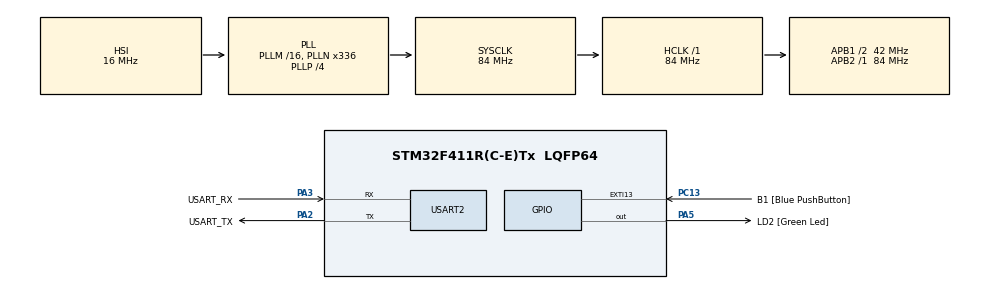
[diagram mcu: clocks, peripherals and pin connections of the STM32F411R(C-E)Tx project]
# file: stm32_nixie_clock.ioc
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Mcu.Family=STM32F4
Mcu.Name=STM32F411R(C-E)Tx
Mcu.Package=LQFP64
NVIC.PriorityGroup=NVIC_PRIORITYGROUP_0
PA13.GPIO_Label=TMS
PA13.Mode=Serial_Wire
PA13.Signal=SYS_JTMS-SWDIO
PA14.GPIO_Label=TCK
PA14.Mode=Serial_Wire
PA14.Signal=SYS_JTCK-SWCLK
PA2.GPIO_Label=USART_TX
PA2.Mode=Asynchronous
PA2.Signal=USART2_TX
PA3.GPIO_Label=USART_RX
PA3.Mode=Asynchronous
PA3.Signal=USART2_RX
PA5.GPIO_Label=LD2 [Green Led]
PA5.Signal=GPIO_Output
PB3.GPIO_Label=SWO
PB3.Signal=SYS_JTDO-SWO
PC13-ANTI_TAMP.GPIO_Label=B1 [Blue PushButton]
PC13-ANTI_TAMP.GPIO_ModeDefaultEXTI=GPIO_MODE_IT_FALLING
PC13-ANTI_TAMP.Signal=GPXTI13
PC14-OSC32_IN.Mode=LSE-External-Oscillator
PC14-OSC32_IN.Signal=RCC_OSC32_IN
PC15-OSC32_OUT.Mode=LSE-External-Oscillator
PC15-OSC32_OUT.Signal=RCC_OSC32_OUT
PH0\ -\ OSC_IN.Mode=HSE-External-Clock-Source
PH0\ -\ OSC_IN.Signal=RCC_OSC_IN
PH1\ -\ OSC_OUT.Mode=HSE-External-Clock-Source
PH1\ -\ OSC_OUT.Signal=RCC_OSC_OUT
ProjectManager.HeapSize=0x200
ProjectManager.StackSize=0x400
ProjectManager.TargetToolchain=STM32CubeIDE
RCC.48MHZClocksFreq_Value=84000000
RCC.AHBFreq_Value=84000000
RCC.APB1CLKDivider=RCC_HCLK_DIV2
RCC.APB1Freq_Value=42000000
RCC.APB1TimFreq_Value=84000000
RCC.APB2Freq_Value=84000000
RCC.APB2TimFreq_Value=84000000
RCC.CortexFreq_Value=84000000
RCC.FLatency-AdvancedSettings=FLASH_LATENCY_2
RCC.HCLKFreq_Value=84000000
RCC.HSE_VALUE=8000000
RCC.HSI_VALUE=16000000
RCC.PLLN=336
RCC.PLLP=RCC_PLLP_DIV4
RCC.RCC_RTC_Clock_Source=RCC_RTCCLKSOURCE_LSE
RCC.SYSCLKFreq_VALUE=84000000
RCC.SYSCLKSource=RCC_SYSCLKSOURCE_PLLCLK
RCC.VCOOutputFreq_Value=336000000
USART2.VirtualMode=VM_ASYNC
VP_RTC_VS_RTC_Activate.Mode=RTC_Enabled
board=NUCLEO-F411RE

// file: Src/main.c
/* USER CODE BEGIN Header */
/**
  ******************************************************************************
  * @file           : main.c
  * @brief          : Main program body
  ******************************************************************************
  * @attention
  *
  * Copyright (c) 2023 STMicroelectronics.
  * All rights reserved.
  *
  * This software is licensed under terms that can be found in the LICENSE file
  * in the root directory of this software component.
  * If no LICENSE file comes with this software, it is provided AS-IS.
  *
  ******************************************************************************
  */
/* USER CODE END Header */

#include "main.h"
#include "nixie.h"

/* USER CODE BEGIN Includes */
#include <stdio.h>
/* USER CODE END Includes */

RTC_HandleTypeDef hrtc;

UART_HandleTypeDef huart2;

/* USER CODE BEGIN PV */
RTC_TimeTypeDef RtcTime;
RTC_DateTypeDef RtcDate;

uint8_t CompareSeconds = 0;
uint8_t Message[64];
uint8_t MessageLen;

Nixie_Pin pins[4][4] =
        {
        {   //Nixie A-D1
            {GPIOB, GPIO_PIN_4}, //Schematic A1
            {GPIOB, GPIO_PIN_5}, //Schematic B1
            {GPIOB, GPIO_PIN_6}, //Schematic C1
            {GPIOB, GPIO_PIN_7}  //Schematic D1
            },
        {   //Nixie A-D2
            {GPIOA, GPIO_PIN_9},  //Schematic A2
            {GPIOA, GPIO_PIN_10}, //Schematic B2
            {GPIOA, GPIO_PIN_11}, //Schematic C2
            {GPIOA, GPIO_PIN_12}  //Schematic D2
            },
        {   //Nixie A-D3
            {GPIOA, GPIO_PIN_5},  //Schematic A3
            {GPIOA, GPIO_PIN_6},  //Schematic B3
            {GPIOA, GPIO_PIN_7},  //Schematic C3
            {GPIOB, GPIO_PIN_0}   //Schematic D3
            },
        {   //Nixie A-D4
            {GPIOB, GPIO_PIN_1},  //Schematic A4
            {GPIOB, GPIO_PIN_2},  //Schematic B4
            {GPIOB, GPIO_PIN_10}, //Schematic C4
            {GPIOB, GPIO_PIN_12}  //Schematic D4
            }
        };

Nixie_IC Nixie1 = {
       .ports = pins[0],
       .value = 0
};
Nixie_IC Nixie2 = {
        .ports = pins[1],
        .value = 0
};
Nixie_IC Nixie3 = {
        .ports = pins[2],
        .value = 0
};
Nixie_IC Nixie4 = {
        .ports = pins[3],
        .value = 0
};

Nixie_Clock clock = { .tubes = {&Nixie1, &Nixie2, &Nixie3, &Nixie4} };

/* USER CODE END PV */

void SystemClock_Config(void);
static void MX_GPIO_Init(void);
static void MX_RTC_Init(void);
static void MX_USART2_UART_Init(void);
/* USER CODE BEGIN PFP */
void setRTC(void);
/* USER CODE END PFP */

int main(void)
{

  /* MCU Configuration--------------------------------------------------------*/

  /* Reset of all peripherals, Initializes the Flash interface and the Systick. */
  HAL_Init();

  /* Configure the system clock */
  SystemClock_Config();

  /* Initialize all configured peripherals */
  MX_GPIO_Init();
  MX_RTC_Init();
  MX_USART2_UART_Init();

  /* Infinite loop */
  /* USER CODE BEGIN WHILE */
  while (1)
  {
      HAL_RTC_GetTime(&hrtc, &RtcTime, RTC_FORMAT_BIN);
      HAL_RTC_GetDate(&hrtc, &RtcDate, RTC_FORMAT_BIN); //need to read date for proper timekeeping
        if(CompareSeconds != RtcTime.Seconds){
            MessageLen = sprintf((char*)Message, "Time: %02d:%02d:%02d\n\r", RtcTime.Hours, RtcTime.Minutes, RtcTime.Seconds);
            HAL_UART_Transmit(&huart2, Message, MessageLen, 100);
            CompareSeconds = RtcTime.Seconds;
        }
      if(HAL_GPIO_ReadPin(B1_GPIO_Port, B1_Pin) == GPIO_PIN_RESET)
      {
          while(HAL_GPIO_ReadPin(B1_GPIO_Port, B1_Pin) == GPIO_PIN_RESET){}
          setRTC();
      }

  }
    /* USER CODE END WHILE */

}

void SystemClock_Config(void)
{
  RCC_OscInitTypeDef RCC_OscInitStruct = {0};
  RCC_ClkInitTypeDef RCC_ClkInitStruct = {0};

  /** Configure the main internal regulator output voltage
  */
  __HAL_RCC_PWR_CLK_ENABLE();
  __HAL_PWR_VOLTAGESCALING_CONFIG(PWR_REGULATOR_VOLTAGE_SCALE1);

  /** Initializes the RCC Oscillators according to the specified parameters
  * in the RCC_OscInitTypeDef structure.
  */
  RCC_OscInitStruct.OscillatorType = RCC_OSCILLATORTYPE_HSI|RCC_OSCILLATORTYPE_LSE;
  RCC_OscInitStruct.LSEState = RCC_LSE_ON;
  RCC_OscInitStruct.HSIState = RCC_HSI_ON;
  RCC_OscInitStruct.HSICalibrationValue = RCC_HSICALIBRATION_DEFAULT;
  RCC_OscInitStruct.PLL.PLLState = RCC_PLL_ON;
  RCC_OscInitStruct.PLL.PLLSource = RCC_PLLSOURCE_HSI;
  RCC_OscInitStruct.PLL.PLLM = 16;
  RCC_OscInitStruct.PLL.PLLN = 336;
  RCC_OscInitStruct.PLL.PLLP = RCC_PLLP_DIV4;
  RCC_OscInitStruct.PLL.PLLQ = 4;
  if (HAL_RCC_OscConfig(&RCC_OscInitStruct) != HAL_OK)
  {
    Error_Handler();
  }

  /** Initializes the CPU, AHB and APB buses clocks
  */
  RCC_ClkInitStruct.ClockType = RCC_CLOCKTYPE_HCLK|RCC_CLOCKTYPE_SYSCLK
                              |RCC_CLOCKTYPE_PCLK1|RCC_CLOCKTYPE_PCLK2;
  RCC_ClkInitStruct.SYSCLKSource = RCC_SYSCLKSOURCE_PLLCLK;
  RCC_ClkInitStruct.AHBCLKDivider = RCC_SYSCLK_DIV1;
  RCC_ClkInitStruct.APB1CLKDivider = RCC_HCLK_DIV2;
  RCC_ClkInitStruct.APB2CLKDivider = RCC_HCLK_DIV1;

  if (HAL_RCC_ClockConfig(&RCC_ClkInitStruct, FLASH_LATENCY_2) != HAL_OK)
  {
    Error_Handler();
  }
}

static void MX_RTC_Init(void)
{

  /** Initialize RTC Only
  */
  hrtc.Instance = RTC;
  hrtc.Init.HourFormat = RTC_HOURFORMAT_24;
  hrtc.Init.AsynchPrediv = 127;
  hrtc.Init.SynchPrediv = 255;
  hrtc.Init.OutPut = RTC_OUTPUT_DISABLE;
  hrtc.Init.OutPutPolarity = RTC_OUTPUT_POLARITY_HIGH;
  hrtc.Init.OutPutType = RTC_OUTPUT_TYPE_OPENDRAIN;
  if (HAL_RTC_Init(&hrtc) != HAL_OK)
  {
    Error_Handler();
  }

}

static void MX_USART2_UART_Init(void)
{

  huart2.Instance = USART2;
  huart2.Init.BaudRate = 115200;
  huart2.Init.WordLength = UART_WORDLENGTH_8B;
  huart2.Init.StopBits = UART_STOPBITS_1;
  huart2.Init.Parity = UART_PARITY_NONE;
  huart2.Init.Mode = UART_MODE_TX_RX;
  huart2.Init.HwFlowCtl = UART_HWCONTROL_NONE;
  huart2.Init.OverSampling = UART_OVERSAMPLING_16;
  //
  if (HAL_UART_Init(&huart2) != HAL_OK)
  {
    Error_Handler();
  }

}

static void MX_GPIO_Init(void)
{
  GPIO_InitTypeDef GPIO_InitStruct = {0};

  /* GPIO Ports Clock Enable */
  __HAL_RCC_GPIOC_CLK_ENABLE();
  __HAL_RCC_GPIOH_CLK_ENABLE();
  __HAL_RCC_GPIOA_CLK_ENABLE();
  __HAL_RCC_GPIOB_CLK_ENABLE();

  /*Configure GPIO pin Output Level */
  HAL_GPIO_WritePin(LD2_GPIO_Port, LD2_Pin, GPIO_PIN_RESET);

  /*Configure GPIO pin : B1_Pin */
  GPIO_InitStruct.Pin = B1_Pin;
  GPIO_InitStruct.Mode = GPIO_MODE_IT_FALLING;
  GPIO_InitStruct.Pull = GPIO_NOPULL;
  HAL_GPIO_Init(B1_GPIO_Port, &GPIO_InitStruct);

  /*Configure GPIO pin : LD2_Pin */
  GPIO_InitStruct.Pin = LD2_Pin;
  GPIO_InitStruct.Mode = GPIO_MODE_OUTPUT_PP;
  GPIO_InitStruct.Pull = GPIO_NOPULL;
  GPIO_InitStruct.Speed = GPIO_SPEED_FREQ_LOW;
  HAL_GPIO_Init(LD2_GPIO_Port, &GPIO_InitStruct);

}

/* USER CODE BEGIN 4 */

void setRTC(void)
{
    RTC_TimeTypeDef sTime = {0};

    /** Initialize RTC and set the Time and Date
    */
    sTime.Hours = BUILD_HOUR;
    sTime.Minutes = BUILD_MINUTE;
    sTime.Seconds = BUILD_SECOND;

    if (HAL_RTC_SetTime(&hrtc, &sTime, RTC_FORMAT_BIN) != HAL_OK)
    {
        Error_Handler();
    }
}

/* USER CODE END 4 */

void Error_Handler(void)
{
  __disable_irq();
  while (1)
  {
  }
}
